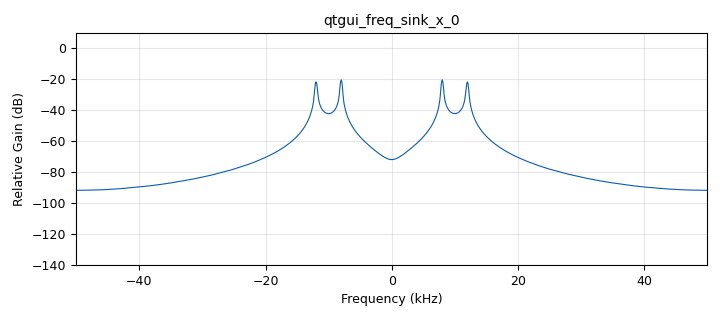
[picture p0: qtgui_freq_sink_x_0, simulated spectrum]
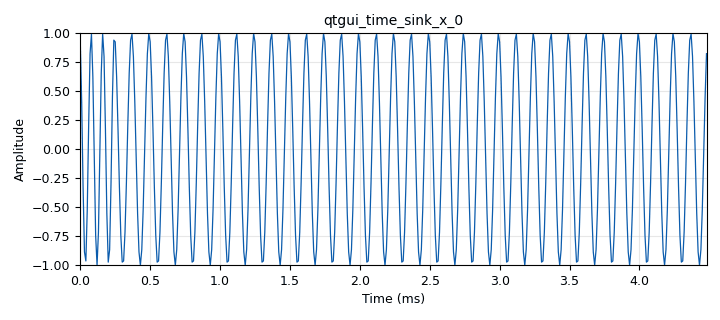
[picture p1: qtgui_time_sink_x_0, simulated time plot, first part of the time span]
options:
  parameters:
    generate_options: qt_gui
    id: TransmisorFSK
    output_language: python
    title: Not titled yet
  states: {}

blocks:
- name: samp_rate
  id: variable
  parameters:
    value: '100000'
  states: {}
- name: analog_sig_source_x_0
  id: analog_sig_source_x
  parameters:
    amp: '1'
    freq: '100'
    offset: '0'
    phase: '0'
    samp_rate: samp_rate
    type: float
    waveform: analog.GR_SQR_WAVE
  states: {}
- name: blocks_add_const_vxx_0
  id: blocks_add_const_vxx
  parameters:
    const: '-0.5'
    type: float
  states: {}
- name: blocks_add_const_vxx_1
  id: blocks_add_const_vxx
  parameters:
    const: '10000'
    type: float
  states: {}
- name: blocks_multiply_const_vxx_0
  id: blocks_multiply_const_vxx
  parameters:
    const: '4000'
    type: float
  states: {}
- name: blocks_throttle2_0
  id: blocks_throttle2
  parameters:
    samples_per_second: samp_rate
    type: float
  states: {}
- name: blocks_vco_f_0
  id: blocks_vco_f
  parameters:
    amplitude: '1'
    samp_rate: '100000'
    sensitivity: '6.28318'
  states: {}
- name: qtgui_freq_sink_x_0
  id: qtgui_freq_sink_x
  parameters:
    bw: samp_rate
    fc: '0'
    fftsize: '1024'
    type: float
  states: {}
- name: qtgui_time_sink_x_0
  id: qtgui_time_sink_x
  parameters:
    size: '1024'
    srate: samp_rate
    type: float
  states: {}

connections:
- [analog_sig_source_x_0, '0', blocks_add_const_vxx_0, '0']
- [blocks_add_const_vxx_0, '0', blocks_multiply_const_vxx_0, '0']
- [blocks_add_const_vxx_1, '0', blocks_vco_f_0, '0']
- [blocks_multiply_const_vxx_0, '0', blocks_add_const_vxx_1, '0']
- [blocks_throttle2_0, '0', qtgui_freq_sink_x_0, '0']
- [blocks_throttle2_0, '0', qtgui_time_sink_x_0, '0']
- [blocks_vco_f_0, '0', blocks_throttle2_0, '0']

metadata:
  file_format: 1
  grc_version: 3.10.12.0
